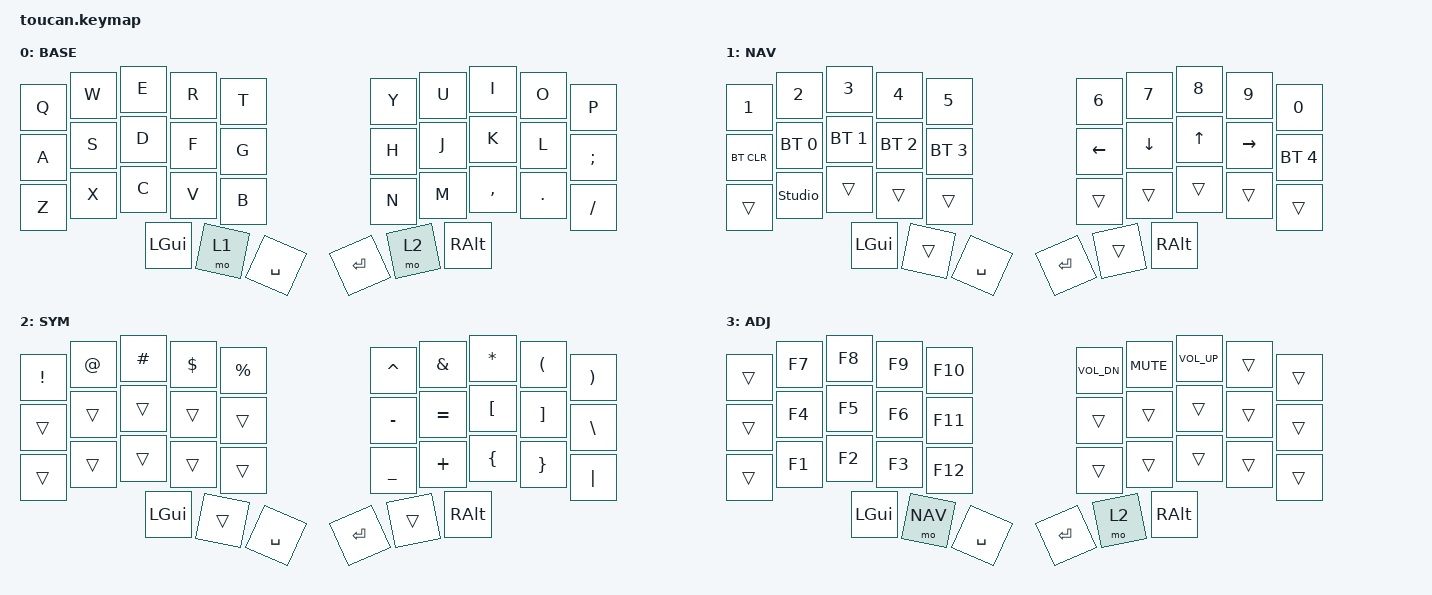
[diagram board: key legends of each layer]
#include <behaviors.dtsi>
#include <dt-bindings/zmk/keys.h>
#include <dt-bindings/zmk/bt.h>
#include <dt-bindings/zmk/outputs.h>

#define BASE 0
#define NAV  1
#define SYM  2
#define ADJ  3

/ {
    conditional_layers {
        compatible = "zmk,conditional-layers";
        tri_layer {
            if-layers = <1 2>;
            then-layer = <3>;
        };
    };

    keymap {
        compatible = "zmk,keymap";

        base {
            display-name = "BASE";
            bindings = <
                &kp Q     &kp W         &kp E    &kp R    &kp T         &kp Y     &kp U       &kp I         &kp O          &kp P
                &kp A     &kp S         &kp D    &kp F    &kp G         &kp H     &kp J       &kp K         &kp L          &kp SEMI
                &kp Z     &kp X         &kp C    &kp V    &kp B         &kp N     &kp M       &kp COMMA     &kp DOT        &kp FSLH
                                      &kp LGUI  &mo 1     &kp SPACE     &kp RET   &mo 2       &kp RALT
            >;
        };

        nav {
            display-name = "NAV";
            bindings = <
                &kp N1      &kp N2          &kp N3       &kp N4       &kp N5         &kp N6     &kp N7       &kp N8      &kp N9      &kp N0
                &bt BT_CLR  &bt BT_SEL 0    &bt BT_SEL 1 &bt BT_SEL 2 &bt BT_SEL 3   &kp LEFT   &kp DOWN     &kp UP      &kp RIGHT   &bt BT_SEL 4
                &trans      &studio_unlock  &trans       &trans       &trans         &trans     &trans       &trans      &trans      &trans
                                                  &kp LGUI  &trans       &kp SPACE     &kp RET   &trans      &kp RALT
            >;
        };

        sym {
            display-name = "SYM";
            bindings = <
                &kp EXCL  &kp AT   &kp HASH &kp DLLR &kp PRCNT   &kp CARET  &kp AMPS   &kp ASTERISK  &kp LPAR   &kp RPAR
                &trans    &trans   &trans   &trans   &trans      &kp MINUS  &kp EQUAL  &kp LBKT      &kp RBKT   &kp BSLH
                &trans    &trans   &trans   &trans   &trans      &kp UNDER  &kp PLUS   &kp LBRC      &kp RBRC   &kp PIPE
                                      &kp LGUI  &trans   &kp SPACE   &kp RET   &trans    &kp RALT
            >;
        };

        adj {
            display-name = "ADJ";
            bindings = <
                &trans    &kp F7  &kp F8  &kp F9  &kp F10   &kp C_VOL_DN  &kp C_MUTE   &kp C_VOL_UP  &trans      &trans
                &trans    &kp F4  &kp F5  &kp F6  &kp F11   &trans        &trans       &trans        &trans      &trans
                &trans    &kp F1  &kp F2  &kp F3  &kp F12   &trans        &trans       &trans        &trans      &trans
                                      &kp LGUI  &mo NAV   &kp SPACE     &kp RET      &mo 2       &kp RALT
            >;
        };

        extra_1 {
            status = "reserved";
        };

        extra_2 {
            status = "reserved";
        };

        extra_3 {
            status = "reserved";
        };
    };
};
